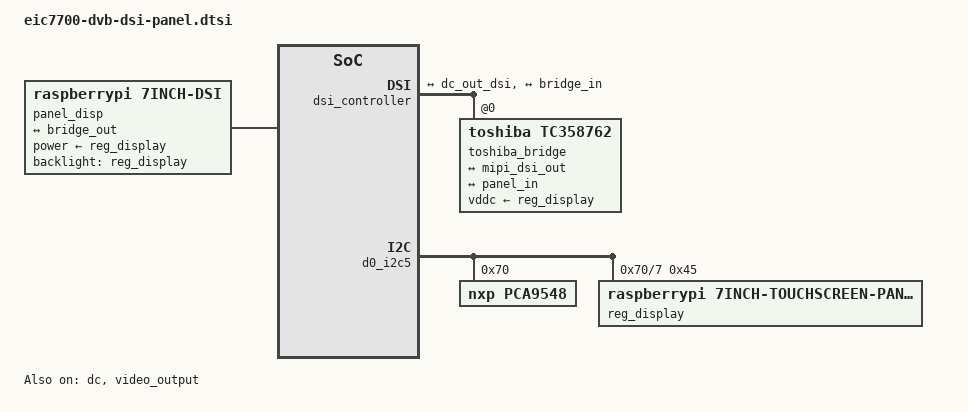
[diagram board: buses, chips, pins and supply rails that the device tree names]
// SPDX-License-Identifier: GPL-2.0
/*
 * Device Tree Include file for pin control of Eswin EIC770x family SoC.
 *
 * Copyright 2024, Beijing ESWIN Computing Technology Co., Ltd.. All rights reserved.
 * SPDX-License-Identifier: GPL-2.0
 *
 * This program is free software: you can redistribute it and/or modify
 * it under the terms of the GNU General Public License as published by
 * the Free Software Foundation, version 2.
 *
 * This program is distributed in the hope that it will be useful,
 * but WITHOUT ANY WARRANTY; without even the implied warranty of
 * MERCHANTABILITY or FITNESS FOR A PARTICULAR PURPOSE.  See the
 * GNU General Public License for more details.
 *
 * You should have received a copy of the GNU General Public License
 * along with this program.  If not, see <https://www.gnu.org/licenses/>.
 */
&SOC {
	panel_disp: panel_disp {
		compatible = "raspberrypi,7inch-dsi";
		status = "okay";
		backlight = <&reg_display>;
		power-supply = <&reg_display>;

		port {
			panel_in: endpoint {
				remote-endpoint = <&bridge_out>;
			};
		};
	};
};

&dc {
	status = "okay";
	dc_out: port {
		dc_out_dsi: endpoint@0 {
			reg = <0>;
			remote-endpoint = <&dsi_input>;
		};
	};
};

&dsi_controller {
	status = "okay";
	dependencies = <&reg_display>;
	dependencies = <&toshiba_bridge>;
	dependencies = <&panel_disp>;
	ports {
		#address-cells = <1>;
		#size-cells = <0>;
		port@0 {
			#address-cells = <1>;
			#size-cells = <0>;
			reg = <0>;
			dsi_input: endpoint {
				remote-endpoint = <&dc_out_dsi>;
			};
		};

		port@1 {
			#address-cells = <1>;
			#size-cells = <0>;
			reg = <1>;

			mipi_dsi_out: endpoint {
				remote-endpoint = <&bridge_in>;
			};
		};
	};

	toshiba_bridge: bridge@0 {
		reg = <0>;
		compatible = "toshiba,tc358762";
		status = "okay";
		vddc-supply = <&reg_display>;
		ports {
			#address-cells = <1>;
			#size-cells = <0>;

			port@0 {
				reg = <0>;
				bridge_in: endpoint {
					remote-endpoint = <&mipi_dsi_out>;
				};
			};

			port@1 {
				reg = <1>;
				bridge_out: endpoint {
					remote-endpoint = <&panel_in>;
				};
			};
		};
	};
};

&video_output {
	status = "okay";
	power-supply = <&reg_display>;
};

&d0_i2c5 {
	status = "okay";
	/* i2c-sda-hold-time-ns = <1000>; */
	/* clock-frequency = <0x186a0>; */

	pca9548: i2c-mux@70 {
		/*compatible = "ti,tca9548"; */
		compatible = "nxp,pca9548";
		#address-cells = <1>;
		#size-cells = <0>;
		reg = <0x70>;

		i2c@7 {
			#address-cells = <1>;
			#size-cells = <0>;
			reg = <0x7>;
			// reg_display = &reg_display;

			reg_display: regulator@45 {
				compatible = "raspberrypi,7inch-touchscreen-panel-regulator";
				reg = <0x45>;
				gpio-controller;
				#gpio-cells = <2>;
			};

		};
	};
};
